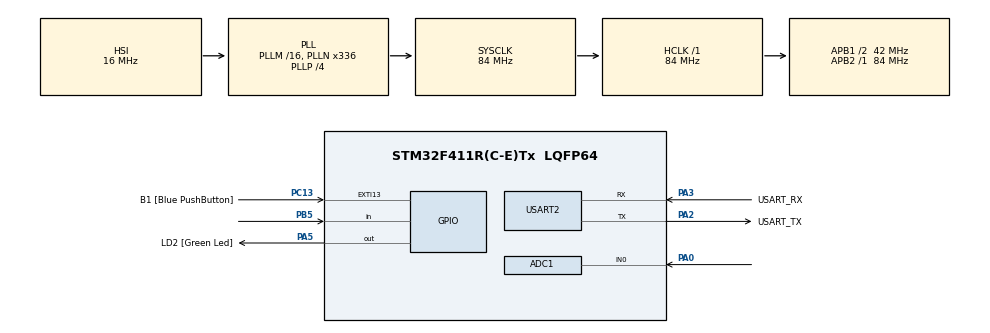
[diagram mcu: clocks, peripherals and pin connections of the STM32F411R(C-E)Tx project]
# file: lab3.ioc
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ADC1.Channel-0\#ChannelRegularConversion=ADC_CHANNEL_0
ADC1.NbrOfConversionFlag=1
ADC1.Rank-0\#ChannelRegularConversion=1
ADC1.SamplingTime-0\#ChannelRegularConversion=ADC_SAMPLETIME_3CYCLES
ADC1.master=1
Mcu.Family=STM32F4
Mcu.Name=STM32F411R(C-E)Tx
Mcu.Package=LQFP64
NVIC.PriorityGroup=NVIC_PRIORITYGROUP_0
PA0-WKUP.Signal=ADCx_IN0
PA13.GPIO_Label=TMS
PA13.Mode=Serial_Wire
PA13.Signal=SYS_JTMS-SWDIO
PA14.GPIO_Label=TCK
PA14.Mode=Serial_Wire
PA14.Signal=SYS_JTCK-SWCLK
PA2.GPIO_Label=USART_TX
PA2.Mode=Asynchronous
PA2.Signal=USART2_TX
PA3.GPIO_Label=USART_RX
PA3.Mode=Asynchronous
PA3.Signal=USART2_RX
PA5.GPIO_Label=LD2 [Green Led]
PA5.Signal=GPIO_Output
PB3.GPIO_Label=SWO
PB3.Signal=SYS_JTDO-SWO
PB5.Signal=GPIO_Input
PC13-ANTI_TAMP.GPIO_Label=B1 [Blue PushButton]
PC13-ANTI_TAMP.GPIO_ModeDefaultEXTI=GPIO_MODE_IT_FALLING
PC13-ANTI_TAMP.Signal=GPXTI13
PC14-OSC32_IN.Mode=LSE-External-Oscillator
PC14-OSC32_IN.Signal=RCC_OSC32_IN
PC15-OSC32_OUT.Mode=LSE-External-Oscillator
PC15-OSC32_OUT.Signal=RCC_OSC32_OUT
PH0\ -\ OSC_IN.Mode=HSE-External-Clock-Source
PH0\ -\ OSC_IN.Signal=RCC_OSC_IN
PH1\ -\ OSC_OUT.Mode=HSE-External-Clock-Source
PH1\ -\ OSC_OUT.Signal=RCC_OSC_OUT
ProjectManager.HeapSize=0x200
ProjectManager.StackSize=0x400
ProjectManager.TargetToolchain=STM32CubeIDE
RCC.48MHZClocksFreq_Value=84000000
RCC.AHBFreq_Value=84000000
RCC.APB1CLKDivider=RCC_HCLK_DIV2
RCC.APB1Freq_Value=42000000
RCC.APB1TimFreq_Value=84000000
RCC.APB2Freq_Value=84000000
RCC.APB2TimFreq_Value=84000000
RCC.CortexFreq_Value=84000000
RCC.FLatency-AdvancedSettings=FLASH_LATENCY_2
RCC.HCLKFreq_Value=84000000
RCC.HSE_VALUE=8000000
RCC.HSI_VALUE=16000000
RCC.PLLN=336
RCC.PLLP=RCC_PLLP_DIV4
RCC.SYSCLKFreq_VALUE=84000000
RCC.SYSCLKSource=RCC_SYSCLKSOURCE_PLLCLK
RCC.VCOOutputFreq_Value=336000000
SH.ADCx_IN0.0=ADC1_IN0,IN0
USART2.VirtualMode=VM_ASYNC
VP_ADC1_TempSens_Input.Mode=IN-TempSens
board=NUCLEO-F411RE

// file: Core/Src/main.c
/* USER CODE BEGIN Header */
/**
 ******************************************************************************
 * @file           : main.c
 * @brief          : Main program body
 ******************************************************************************
 * @attention
 *
 * <h2><center>&copy; Copyright (c) 2021 STMicroelectronics.
 * All rights reserved.</center></h2>
 *
 * This software component is licensed by ST under BSD 3-Clause license,
 * the "License"; You may not use this file except in compliance with the
 * License. You may obtain a copy of the License at:
 *                        opensource.org/licenses/BSD-3-Clause
 *
 ******************************************************************************
 */
/* USER CODE END Header */
#include "main.h"

/* USER CODE BEGIN Includes */
float ADCOutputConverted;
uint16_t ADCMode=0;
uint8_t  s[2]={0};
uint8_t  n=0;
/* USER CODE END Includes */

ADC_HandleTypeDef hadc1;

UART_HandleTypeDef huart2;

/* USER CODE BEGIN PV */
//uint16_t adcdata[2] = { 0 };

typedef struct {
	ADC_ChannelConfTypeDef Config;
	uint16_t data;

} ADCStructure;

ADCStructure ADCChannel[2] = { 0 };

/* USER CODE END PV */

void SystemClock_Config(void);
static void MX_GPIO_Init(void);
static void MX_USART2_UART_Init(void);
static void MX_ADC1_Init(void);
/* USER CODE BEGIN PFP */
void ADCPollingMethodInit();
void ADCPollingMethodUpdate();
/* USER CODE END PFP */

int main(void)
{

  /* MCU Configuration--------------------------------------------------------*/

  /* Reset of all peripherals, Initializes the Flash interface and the Systick. */
  HAL_Init();

  /* Configure the system clock */
  SystemClock_Config();

  /* Initialize all configured peripherals */
  MX_GPIO_Init();
  MX_USART2_UART_Init();
  MX_ADC1_Init();
  /* USER CODE BEGIN 2 */
	ADCPollingMethodInit();

  /* USER CODE END 2 */

  /* Infinite loop */
	while (1) {

    /* USER CODE BEGIN 3 */

		ADCPollingMethodUpdate();
	}
  /* USER CODE END 3 */
}

void SystemClock_Config(void)
{
  RCC_OscInitTypeDef RCC_OscInitStruct = {0};
  RCC_ClkInitTypeDef RCC_ClkInitStruct = {0};

  /** Configure the main internal regulator output voltage
  */
  __HAL_RCC_PWR_CLK_ENABLE();
  __HAL_PWR_VOLTAGESCALING_CONFIG(PWR_REGULATOR_VOLTAGE_SCALE1);
  /** Initializes the RCC Oscillators according to the specified parameters
  * in the RCC_OscInitTypeDef structure.
  */
  RCC_OscInitStruct.OscillatorType = RCC_OSCILLATORTYPE_HSI;
  RCC_OscInitStruct.HSIState = RCC_HSI_ON;
  RCC_OscInitStruct.HSICalibrationValue = RCC_HSICALIBRATION_DEFAULT;
  RCC_OscInitStruct.PLL.PLLState = RCC_PLL_ON;
  RCC_OscInitStruct.PLL.PLLSource = RCC_PLLSOURCE_HSI;
  RCC_OscInitStruct.PLL.PLLM = 16;
  RCC_OscInitStruct.PLL.PLLN = 336;
  RCC_OscInitStruct.PLL.PLLP = RCC_PLLP_DIV4;
  RCC_OscInitStruct.PLL.PLLQ = 4;
  if (HAL_RCC_OscConfig(&RCC_OscInitStruct) != HAL_OK)
  {
    Error_Handler();
  }
  /** Initializes the CPU, AHB and APB buses clocks
  */
  RCC_ClkInitStruct.ClockType = RCC_CLOCKTYPE_HCLK|RCC_CLOCKTYPE_SYSCLK
                              |RCC_CLOCKTYPE_PCLK1|RCC_CLOCKTYPE_PCLK2;
  RCC_ClkInitStruct.SYSCLKSource = RCC_SYSCLKSOURCE_PLLCLK;
  RCC_ClkInitStruct.AHBCLKDivider = RCC_SYSCLK_DIV1;
  RCC_ClkInitStruct.APB1CLKDivider = RCC_HCLK_DIV2;
  RCC_ClkInitStruct.APB2CLKDivider = RCC_HCLK_DIV1;

  if (HAL_RCC_ClockConfig(&RCC_ClkInitStruct, FLASH_LATENCY_2) != HAL_OK)
  {
    Error_Handler();
  }
}

static void MX_ADC1_Init(void)
{

  ADC_ChannelConfTypeDef sConfig = {0};

  /** Configure the global features of the ADC (Clock, Resolution, Data Alignment and number of conversion)
  */
  hadc1.Instance = ADC1;
  hadc1.Init.ClockPrescaler = ADC_CLOCK_SYNC_PCLK_DIV4;
  hadc1.Init.Resolution = ADC_RESOLUTION_12B;
  hadc1.Init.ScanConvMode = DISABLE;
  hadc1.Init.ContinuousConvMode = DISABLE;
  hadc1.Init.DiscontinuousConvMode = DISABLE;
  hadc1.Init.ExternalTrigConvEdge = ADC_EXTERNALTRIGCONVEDGE_NONE;
  hadc1.Init.ExternalTrigConv = ADC_SOFTWARE_START;
  hadc1.Init.DataAlign = ADC_DATAALIGN_RIGHT;
  hadc1.Init.NbrOfConversion = 1;
  hadc1.Init.DMAContinuousRequests = DISABLE;
  hadc1.Init.EOCSelection = ADC_EOC_SINGLE_CONV;
  if (HAL_ADC_Init(&hadc1) != HAL_OK)
  {
    Error_Handler();
  }
  /** Configure for the selected ADC regular channel its corresponding rank in the sequencer and its sample time.
  */
  sConfig.Channel = ADC_CHANNEL_0;
  sConfig.Rank = 1;
  sConfig.SamplingTime = ADC_SAMPLETIME_3CYCLES;
  if (HAL_ADC_ConfigChannel(&hadc1, &sConfig) != HAL_OK)
  {
    Error_Handler();
  }

}

static void MX_USART2_UART_Init(void)
{

  huart2.Instance = USART2;
  huart2.Init.BaudRate = 115200;
  huart2.Init.WordLength = UART_WORDLENGTH_8B;
  huart2.Init.StopBits = UART_STOPBITS_1;
  huart2.Init.Parity = UART_PARITY_NONE;
  huart2.Init.Mode = UART_MODE_TX_RX;
  huart2.Init.HwFlowCtl = UART_HWCONTROL_NONE;
  huart2.Init.OverSampling = UART_OVERSAMPLING_16;
  if (HAL_UART_Init(&huart2) != HAL_OK)
  {
    Error_Handler();
  }

}

static void MX_GPIO_Init(void)
{
  GPIO_InitTypeDef GPIO_InitStruct = {0};

  /* GPIO Ports Clock Enable */
  __HAL_RCC_GPIOC_CLK_ENABLE();
  __HAL_RCC_GPIOH_CLK_ENABLE();
  __HAL_RCC_GPIOA_CLK_ENABLE();
  __HAL_RCC_GPIOB_CLK_ENABLE();

  /*Configure GPIO pin Output Level */
  HAL_GPIO_WritePin(LD2_GPIO_Port, LD2_Pin, GPIO_PIN_RESET);

  /*Configure GPIO pin : B1_Pin */
  GPIO_InitStruct.Pin = B1_Pin;
  GPIO_InitStruct.Mode = GPIO_MODE_IT_FALLING;
  GPIO_InitStruct.Pull = GPIO_NOPULL;
  HAL_GPIO_Init(B1_GPIO_Port, &GPIO_InitStruct);

  /*Configure GPIO pin : LD2_Pin */
  GPIO_InitStruct.Pin = LD2_Pin;
  GPIO_InitStruct.Mode = GPIO_MODE_OUTPUT_PP;
  GPIO_InitStruct.Pull = GPIO_NOPULL;
  GPIO_InitStruct.Speed = GPIO_SPEED_FREQ_LOW;
  HAL_GPIO_Init(LD2_GPIO_Port, &GPIO_InitStruct);

  /*Configure GPIO pin : PB5 */
  GPIO_InitStruct.Pin = GPIO_PIN_5;
  GPIO_InitStruct.Mode = GPIO_MODE_INPUT;
  GPIO_InitStruct.Pull = GPIO_NOPULL;
  HAL_GPIO_Init(GPIOB, &GPIO_InitStruct);

}

/* USER CODE BEGIN 4 */
void ADCPollingMethodInit() {
	//config all ADC Channel
	ADCChannel[0].Config.Channel = ADC_CHANNEL_0;
	ADCChannel[0].Config.Rank = 1;
	ADCChannel[0].Config.SamplingTime = ADC_SAMPLETIME_3CYCLES;

	ADCChannel[1].Config.Channel = ADC_CHANNEL_TEMPSENSOR;
	ADCChannel[1].Config.Rank = 1;
	ADCChannel[1].Config.SamplingTime = ADC_SAMPLETIME_3CYCLES;
}
//Polling Method
void ADCPollingMethodUpdate() {

		s[0]=HAL_GPIO_ReadPin(GPIOB, GPIO_PIN_5);
		if (s[1]== GPIO_PIN_RESET && s[0]==GPIO_PIN_SET)
		{
		 n =n+1;
		 if (n%2==0){
			 n=0;
			 ADCMode=0;
		 }
		 if (n%2 ==1){
			 ADCMode=1;
		 }
		}
		s[1]=s[0];

		if(ADCMode ==0)
		{
		HAL_ADC_ConfigChannel(&hadc1, &ADCChannel[0].Config);
		HAL_ADC_Start(&hadc1);
		HAL_ADC_PollForConversion(&hadc1, 10);
		ADCChannel[0].data = HAL_ADC_GetValue(&hadc1);
		ADCOutputConverted = (ADCChannel[0].data)*3.3*1000/4096;
		HAL_ADC_Stop(&hadc1);
		}

		if(ADCMode ==1)
		{
		HAL_ADC_ConfigChannel(&hadc1, &ADCChannel[1].Config);
		HAL_ADC_Start(&hadc1);
		HAL_ADC_PollForConversion(&hadc1, 10);
		ADCChannel[1].data = HAL_ADC_GetValue(&hadc1);
		ADCOutputConverted = (((ADCChannel[1].data*3.3*1000/4096)-760)/2.5)+25;
		HAL_ADC_Stop(&hadc1);
		}

}
/* USER CODE END 4 */

void Error_Handler(void)
{
	__disable_irq();
	while (1) {
	}
}

/************************ (C) COPYRIGHT STMicroelectronics *****END OF FILE****/
